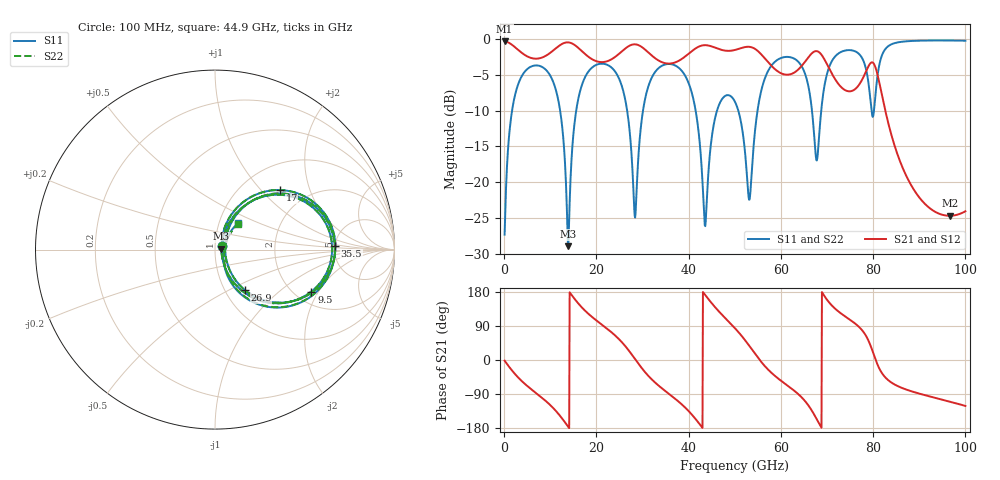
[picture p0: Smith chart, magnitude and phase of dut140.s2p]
! Touchstone file exported from HFSS 2026.1.0
!  File:  C:/ffzhzh/LocalFiles/Ansys_Project_Files/temp_train_TSV_RDL_140_1783462199_28540.aedt
!  Generated:  06:21:55 AM Jul  8, 2026
!  Design:  TSV_RDL
!  Project:  temp_train_TSV_RDL_140_1783462199_28540
! Variables:
!  h_bsmrdl = 2.06um
!  h_ox = 20um
!  h_rdl = 5um
!  h_sub = 80.86um
!  h_tmrdl = 4.64um
!  h_tsv = 80.86um
!  h_via = 3um
!  l_bsmrdl = 518.23um
!  l_sub = 4092.73um
!  l_tmrdl = 517.14um
!  m_sub = 200um
!  pitch = 54.4um
!  r_tsv = 11.14um
!  s_tmrdl = 10um
!  w_bsmrdl = 10.23um
!  w_sub = 500um
!  w_tmrdl = 12.93um
!  x_tsv_center1 = 523.605um
!  x_tsv_center2 = 1052.065um
!  x_tsv_center3 = 1582.135um
!  x_tsv_center4 = 2110.595um
!  x_tsv_center5 = 2640.665um
!  x_tsv_center6 = 3169.125um
# GHz S MA R 50.000000
! Terminal data exported
! Port[1] = TM_RDL1_1_T1
! Port[2] = TM_RDL5_1_T1
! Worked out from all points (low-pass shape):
!   1000 points, 100 MHz to 100 GHz, reference 50 ohm
!   highest |S21| = -0.34 dB at 100 MHz (marker M1); lowest = -24.7 dB at 96.6 GHz (marker M2)
!   |S21| within 3 dB of the highest: start of sweep to 34.56 GHz; 36.85 GHz to 57.34 GHz (20.49 GHz wide, 43.5 % of centre) (the widest 2 of 4)
!   lowest |S11| = -28.9 dB at 13.9 GHz (marker M3), VSWR 1.07, Z = 53.7 + j0.597 ohm
!   |S11| at or under -10 dB: 12.13 GHz to 15.62 GHz (3.49 GHz wide, 25.1 % of centre); 41.52 GHz to 46.15 GHz (4.637 GHz wide, 10.6 % of centre); 50.76 GHz to 54.93 GHz (4.173 GHz wide, 7.9 % of centre) (the widest 3 of 7)
!   |S22| runs from -29.1 to -0.2 dB; largest |S21 - S12| = 3.4e-13
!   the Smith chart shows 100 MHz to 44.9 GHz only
!   S11 on the Smith chart (normalised r, x): 100 MHz: 1.08, +0.04; 9.5 GHz: 2.44, -1.74; 17 GHz: 1.47, +1.28; 26.9 GHz: 1.23, -0.60; 35.5 GHz: 4.99, +0.36; 44.9 GHz: 1.23, +0.37
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0.1  0.04314 26.8  0.9619 -1.7  0.9619 -1.7  0.04314 26.8
! Gamma 0 0 0 0
! Port Impedance 50 0 50 0
2.8  0.4573 42.0  0.8501 -43.1  0.8501 -43.1  0.4573 42.0
9.5  0.5856 -23.5  0.7783 -113.3  0.7783 -113.3  0.5856 -23.6
13.9  0.03585 8.9  0.9446 -176.3  0.9446 -176.3  0.03491 8.9
16.8  0.4702 44.8  0.8239 139.3  0.8239 139.3  0.4701 44.9
17  0.491 42.5  0.8127 136.7  0.8127 136.7  0.4909 42.6
26.9  0.2788 -53.6  0.8853 26.9  0.8853 26.9  0.2785 -53.7
28.4  0.05669 5.9  0.9156 2.2  0.9156 2.2  0.05578 6.1
33.4  0.6214 20.4  0.7085 -66.7  0.7085 -66.7  0.6215 20.5
35.5  0.6676 1.7  0.6723 -87.2  0.6723 -87.2  0.6677 1.9
43.5  0.05008 -17.3  0.9034 173.0  0.9034 173.0  0.05406 -16.6
44.9  0.1932 49.0  0.8875 151.4  0.8875 151.4  0.1941 47.8
50.1  0.361 -2.3  0.8372 83.1  0.8372 83.1  0.3609 -2.9
53.1  0.07556 28.7  0.88 38.1  0.88 38.1  0.07213 28.1
55.2  0.3573 79.9  0.8114 3.3  0.8114 3.3  0.3564 80.4
62  0.7449 17.7  0.5657 -72.6  0.5657 -72.6  0.7447 17.8
66.7  0.3238 -21.6  0.7917 -133.4  0.7917 -133.4  0.324 -21.3
70.8  0.6745 48.4  0.5927 147.1  0.5927 147.1  0.6749 48.3
78.1  0.6747 -7.4  0.5589 70.6  0.5589 70.6  0.6748 -7.4
83.4  0.8951 24.3  0.2496 -54.5  0.2496 -54.5  0.895 24.3
96.6  0.9737 -20.1  0.0584 -109.8  0.0584 -109.8  0.9737 -20.1
100  0.9702 -30.1  0.06278 -121.3  0.06278 -121.3  0.9702 -30.1
